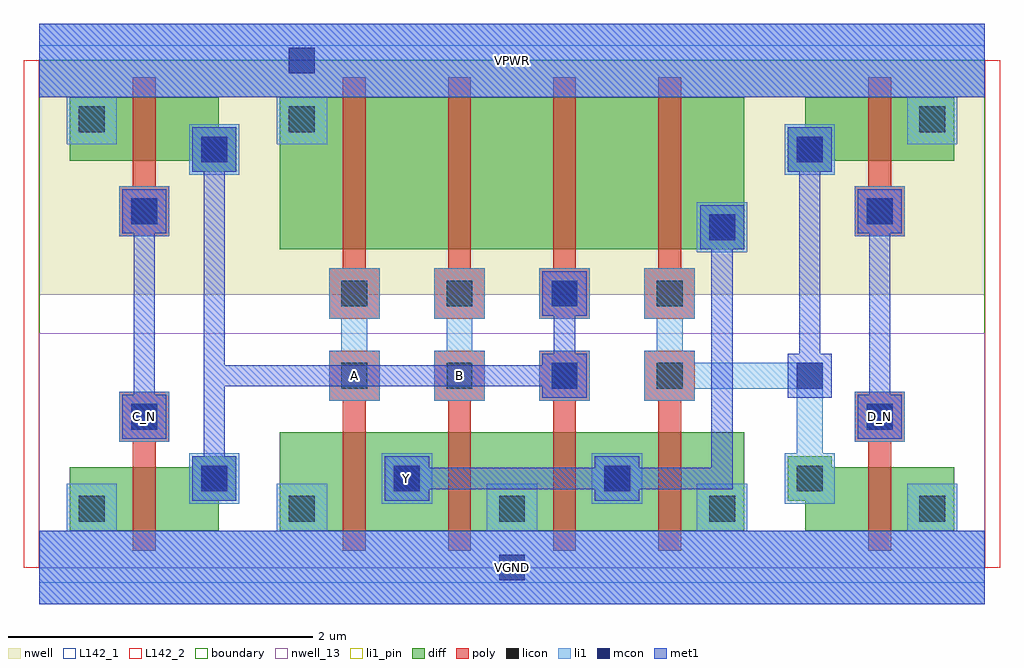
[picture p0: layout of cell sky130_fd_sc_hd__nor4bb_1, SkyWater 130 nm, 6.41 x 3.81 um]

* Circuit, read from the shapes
.subckt sky130_fd_sc_hd__nor4bb_1 A B C_N D_N VGND VPWR Y
XM1 n1 C_N VGND VSUBS sky130_fd_pr__nfet_01v8 w=0.42 l=0.15
XM2 Y A VGND VSUBS sky130_fd_pr__nfet_01v8 w=0.65 l=0.15
XM3 VGND B Y VSUBS sky130_fd_pr__nfet_01v8 w=0.65 l=0.15
XM4 Y n1 VGND VSUBS sky130_fd_pr__nfet_01v8 w=0.65 l=0.15
XM5 VGND n2 Y VSUBS sky130_fd_pr__nfet_01v8 w=0.65 l=0.15
XM6 VGND D_N n2 VSUBS sky130_fd_pr__nfet_01v8 w=0.42 l=0.15
XM7 n1 C_N VPWR n3 sky130_fd_pr__pfet_01v8 w=0.42 l=0.15
XM8 n4 A VPWR n3 sky130_fd_pr__pfet_01v8 w=1 l=0.15
XM9 n5 B n4 n3 sky130_fd_pr__pfet_01v8 w=1 l=0.15
XM10 n6 n1 n5 n3 sky130_fd_pr__pfet_01v8 w=1 l=0.15
XM11 Y n2 n6 n3 sky130_fd_pr__pfet_01v8 w=1 l=0.15
XM12 VPWR D_N n2 n3 sky130_fd_pr__pfet_01v8 w=0.42 l=0.15
.ends

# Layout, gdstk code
import gdstk
lib = gdstk.Library(unit=1e-6, precision=1e-09)
def R(c, l, rs):  # rectangles x0, y0, x1, y1
    for r in rs: c.add(gdstk.rectangle(r[:2], r[2:], *l))
def A(c, l, x, y, w, h, nx, ny, dx, dy):  # array of equal rectangles
    R(c, l, [(x+i*dx, y+j*dy, x+i*dx+w, y+j*dy+h) for i in range(nx) for j in range(ny)])
def P(c, l, *ps):  # polygons
    for p in ps: c.add(gdstk.Polygon(p, *l))
nwell_13 = (64, 13)
nwell = (64, 20)
diff = (65, 20)
poly = (66, 20)
licon = (66, 44)
li1_pin = (67, 16)
li1 = (67, 20)
mcon = (67, 44)
met1 = (68, 20)
L142_1 = (142, 1)
L142_2 = (142, 2)
boundary = (235, 4)

sky130_fd_sc_hd__nor4bb_ = lib.new_cell('sky130_fd_sc_hd__nor4bb_1')
R(sky130_fd_sc_hd__nor4bb_, nwell_13, [(0,0,6.21,1.54)])
R(sky130_fd_sc_hd__nor4bb_, nwell, [(0,1.79,6.21,3.33)])
A(sky130_fd_sc_hd__nor4bb_, diff, 1.995, 0.24, 0.69, 0.65, 3, 1, 0.69, 0)
A(sky130_fd_sc_hd__nor4bb_, diff, 1.995, 2.09, 0.69, 1, 3, 1, 0.69, 0)
R(sky130_fd_sc_hd__nor4bb_, diff, [(0.2,0.24,1.18,0.66), (0.2,0.24,0.615,0.66), (1.58,0.24,4.63,0.89), (1.58,0.24,1.995,0.89), (4.065,0.24,4.63,0.89), (5.03,0.24,6.01,0.66), (5.445,0.24,6.01,0.66), (1.58,2.09,4.63,3.09), (1.58,2.09,1.995,3.09), (4.065,2.09,4.63,3.09), (0.2,2.67,1.18,3.09), (0.2,2.67,0.615,3.09), (5.03,2.67,6.01,3.09), (5.445,2.67,6.01,3.09)])
P(sky130_fd_sc_hd__nor4bb_, diff, [(5.03,0.24),(5.03,0.44),(4.915,0.44),(4.915,0.73),(5.205,0.73),(5.205,0.66),(5.445,0.66),(5.445,0.24)],
  [(0.615,0.24),(0.615,0.66),(1.005,0.66),(1.005,0.73),(1.295,0.73),(1.295,0.44),(1.18,0.44),(1.18,0.24)],
  [(4.915,2.6),(4.915,2.89),(5.03,2.89),(5.03,3.09),(5.445,3.09),(5.445,2.67),(5.205,2.67),(5.205,2.6)],
  [(1.005,2.6),(1.005,2.67),(0.615,2.67),(0.615,3.09),(1.18,3.09),(1.18,2.89),(1.295,2.89),(1.295,2.6)])
P(sky130_fd_sc_hd__nor4bb_, poly, [(2.685,0.11),(2.685,1.095),(2.595,1.095),(2.595,1.425),(2.925,1.425),(2.925,1.095),(2.835,1.095),(2.835,0.11)],
  [(2.595,1.635),(2.595,1.965),(2.685,1.965),(2.685,3.22),(2.835,3.22),(2.835,1.965),(2.925,1.965),(2.925,1.635)],
  [(4.065,0.11),(4.065,1.095),(3.975,1.095),(3.975,1.425),(4.305,1.425),(4.305,1.095),(4.215,1.095),(4.215,0.11)],
  [(3.975,1.635),(3.975,1.965),(4.065,1.965),(4.065,3.22),(4.215,3.22),(4.215,1.965),(4.305,1.965),(4.305,1.635)],
  [(5.445,0.11),(5.445,0.825),(5.355,0.825),(5.355,1.155),(5.685,1.155),(5.685,0.825),(5.595,0.825),(5.595,0.11)],
  [(5.355,2.175),(5.355,2.505),(5.445,2.505),(5.445,3.22),(5.595,3.22),(5.595,2.505),(5.685,2.505),(5.685,2.175)],
  [(3.375,0.11),(3.375,1.095),(3.285,1.095),(3.285,1.425),(3.615,1.425),(3.615,1.095),(3.525,1.095),(3.525,0.11)],
  [(3.285,1.635),(3.285,1.965),(3.375,1.965),(3.375,3.22),(3.525,3.22),(3.525,1.965),(3.615,1.965),(3.615,1.635)],
  [(1.995,0.11),(1.995,1.095),(1.905,1.095),(1.905,1.425),(2.235,1.425),(2.235,1.095),(2.145,1.095),(2.145,0.11)],
  [(1.905,1.635),(1.905,1.965),(1.995,1.965),(1.995,3.22),(2.145,3.22),(2.145,1.965),(2.235,1.965),(2.235,1.635)],
  [(0.615,0.11),(0.615,0.825),(0.525,0.825),(0.525,1.155),(0.855,1.155),(0.855,0.825),(0.765,0.825),(0.765,0.11)],
  [(0.525,2.175),(0.525,2.505),(0.615,2.505),(0.615,3.22),(0.765,3.22),(0.765,2.505),(0.855,2.505),(0.855,2.175)])
A(sky130_fd_sc_hd__nor4bb_, licon, 0.26, 0.3, 0.17, 0.17, 5, 1, 1.38, 0)
A(sky130_fd_sc_hd__nor4bb_, licon, 1.985, 1.175, 0.17, 0.17, 4, 2, 0.69, 0.54)
R(sky130_fd_sc_hd__nor4bb_, licon, [(1.065,0.5,1.235,0.67), (2.33,0.5,2.5,0.67), (3.71,0.5,3.88,0.67), (4.975,0.5,5.145,0.67), (0.605,0.905,0.775,1.075), (5.435,0.905,5.605,1.075), (4.4,2.15,4.57,2.32), (0.605,2.255,0.775,2.425), (5.435,2.255,5.605,2.425), (1.065,2.66,1.235,2.83), (4.975,2.66,5.145,2.83), (0.26,2.86,0.43,3.03), (1.64,2.86,1.81,3.03), (5.78,2.86,5.95,3.03)])
R(sky130_fd_sc_hd__nor4bb_, li1_pin, [(0,-0.24,6.21,0.24), (2.25,0.42,2.58,0.75), (0.525,0.825,0.855,1.155), (5.355,0.825,5.685,1.155), (0,3.09,6.21,3.57)])
P(sky130_fd_sc_hd__nor4bb_, li1_pin, [(2.595,1.095),(2.595,1.425),(2.675,1.425),(2.675,1.635),(2.595,1.635),(2.595,1.965),(2.925,1.965),(2.925,1.635),(2.845,1.635),(2.845,1.425),(2.925,1.425),(2.925,1.095)],
  [(1.905,1.095),(1.905,1.425),(1.985,1.425),(1.985,1.635),(1.905,1.635),(1.905,1.965),(2.235,1.965),(2.235,1.635),(2.155,1.635),(2.155,1.425),(2.235,1.425),(2.235,1.095)])
R(sky130_fd_sc_hd__nor4bb_, li1, [(0.985,0.42,1.315,0.75), (2.25,0.42,2.58,0.75), (3.63,0.42,3.96,0.75), (0.525,0.825,0.855,1.155), (5.355,0.825,5.685,1.155), (3.285,1.095,3.615,1.425), (3.285,1.635,3.615,1.965), (4.32,2.07,4.65,2.4), (0.525,2.175,0.855,2.505), (5.355,2.175,5.685,2.505), (0.985,2.58,1.315,2.91), (4.895,2.58,5.225,2.91)])
P(sky130_fd_sc_hd__nor4bb_, li1, [(2.595,1.095),(2.595,1.425),(2.675,1.425),(2.675,1.635),(2.595,1.635),(2.595,1.965),(2.925,1.965),(2.925,1.635),(2.845,1.635),(2.845,1.425),(2.925,1.425),(2.925,1.095)],
  [(4.895,0.42),(4.895,0.75),(4.975,0.75),(4.975,1.175),(4.305,1.175),(4.305,1.095),(3.975,1.095),(3.975,1.425),(4.055,1.425),(4.055,1.635),(3.975,1.635),(3.975,1.965),(4.305,1.965),(4.305,1.635),(4.225,1.635),(4.225,1.425),(4.305,1.425),(4.305,1.345),(5.145,1.345),(5.145,0.75),(5.225,0.75),(5.225,0.42)],
  [(0.18,2.78),(0.18,3.09),(0,3.09),(0,3.57),(6.21,3.57),(6.21,3.09),(6.03,3.09),(6.03,2.78),(5.7,2.78),(5.7,3.09),(1.89,3.09),(1.89,2.78),(1.56,2.78),(1.56,3.09),(0.51,3.09),(0.51,2.78)],
  [(0,-0.24),(0,0.24),(0.18,0.24),(0.18,0.55),(0.51,0.55),(0.51,0.24),(1.56,0.24),(1.56,0.55),(1.89,0.55),(1.89,0.24),(2.94,0.24),(2.94,0.55),(3.27,0.55),(3.27,0.24),(4.32,0.24),(4.32,0.55),(4.65,0.55),(4.65,0.24),(5.7,0.24),(5.7,0.55),(6.03,0.55),(6.03,0.24),(6.21,0.24),(6.21,-0.24)],
  [(1.905,1.095),(1.905,1.425),(1.985,1.425),(1.985,1.635),(1.905,1.635),(1.905,1.965),(2.235,1.965),(2.235,1.635),(2.155,1.635),(2.155,1.425),(2.235,1.425),(2.235,1.095)])
R(sky130_fd_sc_hd__nor4bb_, mcon, [(3.02,-0.085,3.19,0.085), (1.065,0.5,1.235,0.67), (2.33,0.5,2.5,0.67), (3.71,0.5,3.88,0.67), (0.605,0.905,0.775,1.075), (5.435,0.905,5.605,1.075), (3.365,1.175,3.535,1.345), (4.975,1.175,5.145,1.345), (3.365,1.715,3.535,1.885), (4.4,2.15,4.57,2.32), (0.605,2.255,0.775,2.425), (5.435,2.255,5.605,2.425), (1.065,2.66,1.235,2.83), (4.975,2.66,5.145,2.83), (1.64,3.245,1.81,3.415)])
R(sky130_fd_sc_hd__nor4bb_, met1, [(0,-0.24,6.21,0.24), (0,3.09,6.21,3.57)])
P(sky130_fd_sc_hd__nor4bb_, met1, [(2.27,0.44),(2.27,0.73),(2.56,0.73),(2.56,0.655),(3.65,0.655),(3.65,0.73),(3.94,0.73),(3.94,0.655),(4.415,0.655),(4.415,2.09),(4.34,2.09),(4.34,2.38),(4.63,2.38),(4.63,2.09),(4.555,2.09),(4.555,0.515),(3.94,0.515),(3.94,0.44),(3.65,0.44),(3.65,0.515),(2.56,0.515),(2.56,0.44)],
  [(4.915,1.115),(4.915,1.405),(4.99,1.405),(4.99,2.6),(4.915,2.6),(4.915,2.89),(5.205,2.89),(5.205,2.6),(5.13,2.6),(5.13,1.405),(5.205,1.405),(5.205,1.115)],
  [(5.375,0.845),(5.375,1.135),(5.45,1.135),(5.45,2.195),(5.375,2.195),(5.375,2.485),(5.665,2.485),(5.665,2.195),(5.59,2.195),(5.59,1.135),(5.665,1.135),(5.665,0.845)],
  [(1.005,0.44),(1.005,0.73),(1.08,0.73),(1.08,2.6),(1.005,2.6),(1.005,2.89),(1.295,2.89),(1.295,2.6),(1.22,2.6),(1.22,1.33),(3.305,1.33),(3.305,1.405),(3.38,1.405),(3.38,1.655),(3.305,1.655),(3.305,1.945),(3.595,1.945),(3.595,1.655),(3.52,1.655),(3.52,1.405),(3.595,1.405),(3.595,1.115),(3.305,1.115),(3.305,1.19),(1.22,1.19),(1.22,0.73),(1.295,0.73),(1.295,0.44)],
  [(0.545,0.845),(0.545,1.135),(0.62,1.135),(0.62,2.195),(0.545,2.195),(0.545,2.485),(0.835,2.485),(0.835,2.195),(0.76,2.195),(0.76,1.135),(0.835,1.135),(0.835,0.845)])
R(sky130_fd_sc_hd__nor4bb_, L142_1, [(0,-0.1,6.21,0), (0,3.33,6.21,3.43)])
R(sky130_fd_sc_hd__nor4bb_, L142_2, [(-0.1,0,0,3.33), (6.21,0,6.31,3.33)])
R(sky130_fd_sc_hd__nor4bb_, boundary, [(0,0,6.21,3.33)])
sky130_fd_sc_hd__nor4bb_.add(gdstk.Label('Y', (2.415,0.585), layer=67, texttype=5))
sky130_fd_sc_hd__nor4bb_.add(gdstk.Label('B', (2.76,1.26), layer=67, texttype=5))
sky130_fd_sc_hd__nor4bb_.add(gdstk.Label('D_N', (5.52,0.99), layer=67, texttype=5))
sky130_fd_sc_hd__nor4bb_.add(gdstk.Label('A', (2.07,1.26), layer=67, texttype=5))
sky130_fd_sc_hd__nor4bb_.add(gdstk.Label('C_N', (0.69,0.99), layer=67, texttype=5))
sky130_fd_sc_hd__nor4bb_.add(gdstk.Label('VGND', (3.105,0), layer=67, texttype=5))
sky130_fd_sc_hd__nor4bb_.add(gdstk.Label('VPWR', (3.105,3.33), layer=67, texttype=5))
sky130_fd_sc_hd__nor4bb_.add(gdstk.Label('VGND', (3.105,0), layer=68, texttype=5))
sky130_fd_sc_hd__nor4bb_.add(gdstk.Label('VPWR', (3.105,3.33), layer=68, texttype=5))

lib.write_gds('sky130_fd_sc_hd__nor4bb_1.gds')
